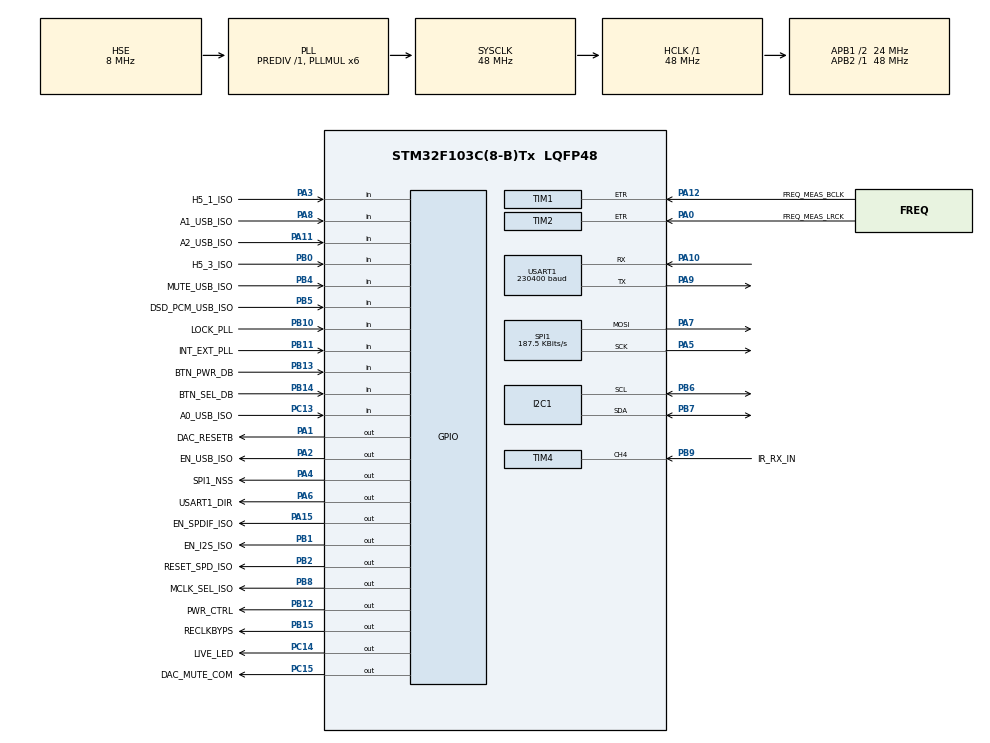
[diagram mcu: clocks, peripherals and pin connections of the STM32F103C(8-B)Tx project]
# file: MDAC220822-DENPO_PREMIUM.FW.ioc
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Dma.Request0=USART1_RX
Dma.USART1_RX.0.Direction=DMA_PERIPH_TO_MEMORY
Dma.USART1_RX.0.Instance=DMA1_Channel5
Dma.USART1_RX.0.MemDataAlignment=DMA_MDATAALIGN_BYTE
Dma.USART1_RX.0.MemInc=DMA_MINC_ENABLE
Dma.USART1_RX.0.Mode=DMA_NORMAL
Dma.USART1_RX.0.PeriphDataAlignment=DMA_PDATAALIGN_BYTE
Dma.USART1_RX.0.PeriphInc=DMA_PINC_DISABLE
Dma.USART1_RX.0.Priority=DMA_PRIORITY_LOW
I2C1.I2C_Mode=I2C_Standard
Mcu.Family=STM32F1
Mcu.Name=STM32F103C(8-B)Tx
Mcu.Package=LQFP48
NVIC.DMA1_Channel5_IRQn=true\:0\:0\:false\:false\:true\:false\:true\:true
NVIC.PriorityGroup=NVIC_PRIORITYGROUP_4
NVIC.TIM3_IRQn=true\:0\:0\:false\:false\:true\:true\:true\:true
NVIC.TIM4_IRQn=true\:0\:0\:false\:false\:true\:true\:true\:true
NVIC.USART1_IRQn=true\:5\:0\:true\:false\:true\:true\:true\:true
PA0-WKUP.GPIO_Label=FREQ_MEAS_LRCK
PA0-WKUP.Signal=S_TIM2_CH1_ETR
PA1.GPIO_Label=DAC_RESETB
PA1.GPIO_ModeDefaultOutputPP=GPIO_MODE_OUTPUT_PP
PA1.GPIO_PuPd=GPIO_PULLUP
PA1.PinState=GPIO_PIN_SET
PA1.Signal=GPIO_Output
PA10.Mode=Asynchronous
PA10.Signal=USART1_RX
PA11.GPIO_Label=A2_USB_ISO
PA11.Signal=GPIO_Input
PA12.GPIO_Label=FREQ_MEAS_BCLK
PA12.Signal=S_TIM1_ETR
PA13.Mode=Trace_Asynchronous_SW
PA13.Signal=SYS_JTMS-SWDIO
PA14.Mode=Trace_Asynchronous_SW
PA14.Signal=SYS_JTCK-SWCLK
PA15.GPIO_Label=EN_SPDIF_ISO
PA15.Signal=GPIO_Output
PA2.GPIO_Label=EN_USB_ISO
PA2.Signal=GPIO_Output
PA3.GPIO_Label=H5_1_ISO
PA3.Signal=GPIO_Input
PA4.GPIO_Label=SPI1_NSS
PA4.GPIO_ModeDefaultOutputPP=GPIO_MODE_OUTPUT_PP
PA4.GPIO_PuPd=GPIO_PULLUP
PA4.GPIO_Speed=GPIO_SPEED_FREQ_LOW
PA4.PinState=GPIO_PIN_SET
PA4.Signal=GPIO_Output
PA5.Mode=TX_Only_Simplex_Unidirect_Master
PA5.Signal=SPI1_SCK
PA6.GPIO_Label=USART1_DIR
PA6.Signal=GPIO_Output
PA7.Mode=TX_Only_Simplex_Unidirect_Master
PA7.Signal=SPI1_MOSI
PA8.GPIO_Label=A1_USB_ISO
PA8.Signal=GPIO_Input
PA9.Mode=Asynchronous
PA9.Signal=USART1_TX
PB0.GPIO_Label=H5_3_ISO
PB0.Signal=GPIO_Input
PB1.GPIO_Label=EN_I2S_ISO
PB1.Signal=GPIO_Output
PB10.GPIO_Label=LOCK_PLL
PB10.Signal=GPIO_Input
PB11.GPIO_Label=INT_EXT_PLL
PB11.Signal=GPIO_Input
PB12.GPIO_Label=PWR_CTRL
PB12.Signal=GPIO_Output
PB13.GPIO_Label=BTN_PWR_DB
PB13.Signal=GPIO_Input
PB14.GPIO_Label=BTN_SEL_DB
PB14.Signal=GPIO_Input
PB15.GPIO_Label=RECLKBYPS
PB15.Signal=GPIO_Output
PB2.GPIO_Label=RESET_SPD_ISO
PB2.GPIO_PuPd=GPIO_PULLUP
PB2.PinState=GPIO_PIN_SET
PB2.Signal=GPIO_Output
PB3.Mode=Trace_Asynchronous_SW
PB3.Signal=SYS_JTDO-TRACESWO
PB4.GPIO_Label=MUTE_USB_ISO
PB4.Signal=GPIO_Input
PB5.GPIO_Label=DSD_PCM_USB_ISO
PB5.Signal=GPIO_Input
PB6.Mode=I2C
PB6.Signal=I2C1_SCL
PB7.Mode=I2C
PB7.Signal=I2C1_SDA
PB8.GPIO_Label=MCLK_SEL_ISO
PB8.Signal=GPIO_Output
PB9.GPIO_Label=IR_RX_IN
PB9.Signal=S_TIM4_CH4
PC13-TAMPER-RTC.GPIO_Label=A0_USB_ISO
PC13-TAMPER-RTC.Signal=GPIO_Input
PC14-OSC32_IN.GPIO_Label=LIVE_LED
PC14-OSC32_IN.Signal=GPIO_Output
PC15-OSC32_OUT.GPIO_Label=DAC_MUTE_COM
PC15-OSC32_OUT.GPIO_ModeDefaultOutputPP=GPIO_MODE_OUTPUT_PP
PC15-OSC32_OUT.GPIO_PuPd=GPIO_PULLUP
PC15-OSC32_OUT.PinState=GPIO_PIN_SET
PC15-OSC32_OUT.Signal=GPIO_Output
PD0-OSC_IN.Mode=HSE-External-Oscillator
PD0-OSC_IN.Signal=RCC_OSC_IN
PD1-OSC_OUT.Mode=HSE-External-Oscillator
PD1-OSC_OUT.Signal=RCC_OSC_OUT
ProjectManager.HeapSize=0x200
ProjectManager.StackSize=0x400
ProjectManager.TargetToolchain=STM32CubeIDE
RCC.AHBFreq_Value=48000000
RCC.APB1CLKDivider=RCC_HCLK_DIV2
RCC.APB1Freq_Value=24000000
RCC.APB1TimFreq_Value=48000000
RCC.APB2Freq_Value=48000000
RCC.APB2TimFreq_Value=48000000
RCC.HCLKFreq_Value=48000000
RCC.PLLMUL=RCC_PLL_MUL6
RCC.PLLSourceVirtual=RCC_PLLSOURCE_HSE
RCC.SYSCLKFreq_VALUE=48000000
RCC.SYSCLKSource=RCC_SYSCLKSOURCE_PLLCLK
RCC.USBFreq_Value=48000000
SH.S_TIM1_ETR.0=TIM1_ETR,ClockSourceETR_Mode2
SH.S_TIM2_CH1_ETR.0=TIM2_ETR,ClockSourceETR_Mode2
SH.S_TIM4_CH4.0=TIM4_CH4,Input_Capture4_from_TI4
SPI1.BaudRatePrescaler=SPI_BAUDRATEPRESCALER_256
SPI1.CLKPhase=SPI_PHASE_1EDGE
SPI1.CalculateBaudRate=187.5 KBits/s
SPI1.Direction=SPI_DIRECTION_2LINES
SPI1.FirstBit=SPI_FIRSTBIT_MSB
SPI1.Mode=SPI_MODE_MASTER
SPI1.VirtualType=VM_MASTER
TIM3.Period=48000
TIM3.Prescaler=0
TIM4.Channel-Input_Capture4_from_TI4=TIM_CHANNEL_4
TIM4.ICPolarity_CH4=TIM_INPUTCHANNELPOLARITY_FALLING
TIM4.Prescaler=4799
USART1.BaudRate=230400
USART1.VirtualMode=VM_ASYNC
VP_TIM3_VS_ClockSourceINT.Mode=Internal
board=custom

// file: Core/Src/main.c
/* USER CODE BEGIN Header */
/**
  ******************************************************************************
  * @file           : main.c
  * @brief          : Main program body
  ******************************************************************************
  * @attention
  *
  * Copyright (c) 2022 STMicroelectronics.
  * All rights reserved.
  *
  * This software is licensed under terms that can be found in the LICENSE file
  * in the root directory of this software component.
  * If no LICENSE file comes with this software, it is provided AS-IS.
  *
  ******************************************************************************
  *231219
  * User Manual:
  *
  * - A bemenetválasztást a felhasználó választja a SELECTOR nyomógombbal.
  * - A DAC paramétereit forrás frekvenciájának mérésével LRCK/BLCK határozza meg, kivéve az USB forrást.
  *
  *
  */
/* USER CODE END Header */
#include "main.h"

/* USER CODE BEGIN Includes */

#include "ir_nec_rx.h"
#include <stdio.h>
#include <string.h>
#include <stdlib.h>
#include <math.h>
#include "display.h"
#include "LiveLed.h"
/* USER CODE END Includes */

/* USER CODE BEGIN PD */

/*** DIO ***/
#define DO_EN_I2S_I2C_ISO         ((uint8_t)1<<1)
#define DO_EN_USB_ISO             ((uint8_t)1<<2)
#define DO_EN_SPDIF_ISO           ((uint8_t)1<<3)
#define DO_MUX_PCM                ((uint8_t)1<<4)

#define DI_A0_USB                 ((uint8_t)1<<0)
#define DI_A1_USB                 ((uint8_t)1<<1)
#define DI_A2_USB                 ((uint8_t)1<<2)
#define DI_A3_USB                 ((uint8_t)1<<3)
#define DI_DSD_PCM_USB            ((uint8_t)1<<4)
#define DI_XMOS_MUTE              ((uint8_t)1<<5)

/*** BUTTONS ***/
#define BUTTON_POWER      ((uint8_t)1<<1)
#define BUTTON_SELECTOR   ((uint8_t)1<<2)

/* USER CODE END PD */

I2C_HandleTypeDef hi2c1;

SPI_HandleTypeDef hspi1;

TIM_HandleTypeDef htim1;
TIM_HandleTypeDef htim2;
TIM_HandleTypeDef htim3;
TIM_HandleTypeDef htim4;

UART_HandleTypeDef huart1;
DMA_HandleTypeDef hdma_usart1_rx;

/* USER CODE BEGIN PV */

Device_t Device;
LiveLED_HnadleTypeDef hLiveLed;

/* USER CODE END PV */

void SystemClock_Config(void);
static void MX_GPIO_Init(void);
static void MX_DMA_Init(void);
static void MX_SPI1_Init(void);
static void MX_USART1_UART_Init(void);
static void MX_TIM1_Init(void);
static void MX_TIM2_Init(void);
static void MX_I2C1_Init(void);
static void MX_TIM3_Init(void);
static void MX_TIM4_Init(void);
/* USER CODE BEGIN PFP */

/*** LiveLed ***/
void LiveLedOff(void);
void LiveLedOn(void);
void SetMasterClock(MasterClocks_t clk);

/*** XMOS/USB ***/
XmosStatus_t ReadXmosStaus(void);
uint8_t XmosIsMute(void);
void SetRoute (Route_t route);

/*** Tasks ***/
void UpTimeTask(void);
void DebugTask(DebugState_t dbg);

/*** Mute ***/
void UserMuteOn(void);
void UserMuteOff(void);
uint8_t UserIsMute(void);
void DeviceMuteOff(void);
void DeviceMuteOn(void);

/*** HMI ***/
uint8_t ButtonsPoll(void);
void UpdateLockIntExtStatus(void);
void UpdateSelectorLeds(Route_t route);
void DevicePowerOn(void);
void DevicePowerOff(void);
void DeviceSleep(void);
void DisplayWake(void);
uint8_t IsDisplaySleep(void);
void DisplaySleepTask(void);
uint8_t DeviceIsOn(void);
void ButtonsTask(void);
void RemoteTask(void);

/*** ReClock ***/
void ReClockBypassOff(void);
void ReClockBypassOn(void);

/*** Debug ***/
void DebugDisplayUpdate(void);

/* USER CODE END PFP */

int main(void)
{

  /* MCU Configuration--------------------------------------------------------*/

  /* Reset of all peripherals, Initializes the Flash interface and the Systick. */
  HAL_Init();

  /* Configure the system clock */
  SystemClock_Config();

  /* Initialize all configured peripherals */
  MX_GPIO_Init();
  MX_DMA_Init();
  MX_SPI1_Init();
  MX_USART1_UART_Init();
  MX_TIM1_Init();
  MX_TIM2_Init();
  MX_I2C1_Init();
  MX_TIM3_Init();
  MX_TIM4_Init();
  /* USER CODE BEGIN 2 */

  /*** Check if the system has resumed from WWDG reset ***/
  if (__HAL_RCC_GET_FLAG(RCC_FLAG_WWDGRST) != RESET)
  {
    Device.Diag.WakeUpFromWdtReset = 1;
  }

  /*--- printf for SWO --- */
  printf("Hello World\r\n");

  /*--- LiveLed ---*/
  hLiveLed.LedOffFnPtr = &LiveLedOff;
  hLiveLed.LedOnFnPtr = &LiveLedOn;
  hLiveLed.HalfPeriodTimeMs = 500;
  LiveLedInit(&hLiveLed);

  /*--- User Leds ---*/
  UsrLeds_Init(&hspi1);

  /*--- User Leds Blinking wait for power supplies ---*/
  /*
   * Az LCD extrém érzékeny a táp feszültségére, ha beakcsolás utána zonnal kommunikálnunk akkor nem inicalizálja a kijelzőt.
   */
  for(int i = 0; i < 3; i++)
  {
    UsrLeds_On(USR_LED_ALL);
    HAL_Delay(500);
    UsrLeds_Off(USR_LED_ALL);
    HAL_Delay(500);
  }

  /*--- EEPROM ---*/
  Eeprom_Init(&hi2c1, EEPROM_DEVICE_ADDRESS);

  uint32_t startSign;
  Eeprom_ReadU32(EEPROM_ADDR_FIRST_START, &startSign);
  if(startSign != 0x55AA)
  {
    /*--- FIRST START ---*/
    Eeprom_WriteU32(EEPROM_ADDR_FIRST_START, 0x55AA);
    Eeprom_WriteU32(EEPROM_ADDR_BOOTUP_CNT, 0);
    Eeprom_WriteU32(EEPROM_ADDR_LAST_ROUTE, ROUTE_USB);
    Eeprom_WriteU32(EEPROM_ADDR_DAC_ROLLOFF, BD34301_ROLL_OFF_SHARP);
  }

  /*--- BOOTUP COUNTER ---*/
  Eeprom_ReadU32(EEPROM_ADDR_BOOTUP_CNT, &Device.Diag.BootupCnt);
  Device.Diag.BootupCnt++;
  Eeprom_WriteU32(EEPROM_ADDR_BOOTUP_CNT, Device.Diag.BootupCnt);

  /*--- Display ---*/
  DisplayInit(&hi2c1, SSD1306_I2C_DEV_ADDRESS);
  DisplayClear();
  DisplayUpdate();
                  /*0123456789012345*/
  DisplaySetCursor(0, 0);
  DisplayDrawString("   CORE AUDIO   ", &GfxFont7x8, SSD1306_WHITE );
  DisplaySetCursor(0, 8);
  DisplayDrawString(" DENPO PREMIUM  ", &GfxFont7x8, SSD1306_WHITE );
  DisplaySetCursor(0, 16);
  DisplayDrawString(DEVICE_FW, &GfxFont7x8, SSD1306_WHITE );

  DisplaySetCursor(0, 16);
  DisplayDrawString(DEVICE_FW, &GfxFont7x8, SSD1306_WHITE );

  DisplaySetCursor(0, 24);
  DisplayDrawString(DEVICE_NAME, &GfxFont7x8, SSD1306_WHITE );
  DisplayUpdate();

  /*--- FrMeter ---*/
  FreqMeas_Start();

  /*--- Device ---*/
  DevicePowerOff();

  /*--- Communication ---*/
  Com_Init(&huart1, &hdma_usart1_rx);

  /*--- Infrared Receiver ---*/
  IR_NEC_Init(&htim4, TIM_CHANNEL_4);

  /* USER CODE END 2 */

  /* Infinite loop */
  /* USER CODE BEGIN WHILE */

  while (1)
  {

    //HAL_WWDG_Refresh(&hwwdg);

    // 22.5792MHz - 24.575MHz
    //         LRCK
    // 352.8KHz -   384KHz    |
    // 176.4KHz -   192KHz    |
    // 88.2KHz  -   96KHz     |
    // 44.1KHz  -   48.0KHz   |   64xLRCK

    /*
     * - Az XLR, HDMI, RCA-ról érkező jelek vezérlik a DAC-ot
     * - A LRCK-BCK mért frekvenciák alapján meghatározom audió jel tipusát pl: AUDIO_PCM_44_1KHZ
     * - Ha pl AUDIO_PCM_44_1KHZ - jön akkor 22.5792MHz a Master Clock kell neki
     * - Ha DSD jön az nem mehet keresztül a SRC, a routot kell változtatni (HDMI vagy XMOS)-n úgy hogy ne menejen keresztül rajta
     * - Ha nem USB-röl jön a jel akkor kiválasszam az OP
     **/

    static uint8_t flag;
    static uint32_t timestamp;

    if(Device.IsOn)
    {
      Device.AudioType.Curr = FreqMeas_GetAudioType();
      if( Device.Route.Curr == ROUTE_I2S_HDMI ||
          Device.Route.Curr == ROUTE_BNC ||
          Device.Route.Curr == ROUTE_RCA ||
          Device.Route.Curr == ROUTE_AES_XLR ||
          Device.Route.Curr == ROUTE_TOS)
      {
        if(Device.AudioType.Pre != Device.AudioType.Curr)
        {
          if(flag == 0)
          {
            flag = 1;
            DeviceMuteOn();
            BD34301_MuteOn();
            Device.Diag.SpdifAuidoTypeChangedCnt++;
            timestamp = HAL_GetTick();
            Device.AudioType.Pre = AUDIO_UNKNOWN; //ez kikényszerití a némítás-visszakapcsolást, abban az esetben is ha pattanás/rövid hiba törétn a stream-ben
          }
          if(flag == 1)
          {
            if(HAL_GetTick() - timestamp > 500)
            {
              flag = 0;

              switch(Device.AudioType.Curr)
              {
                 case AUDIO_PCM_32_0KHZ:{
                   Device.DacMode = BD34301_PCM_32_0KHZ;
                   Device.MasterClock = CLK_22_5792MHZ;
                   break;
                 }
                 case AUDIO_PCM_44_1KHZ:{
                   Device.DacMode = BD34301_PCM_44_1KHZ;
                   Device.MasterClock = CLK_22_5792MHZ;
                   break;
                 }
                 case AUDIO_PCM_48_0KHZ:{
                   Device.DacMode = BD34301_PCM_48_0KHZ;
                   Device.MasterClock = CLK_24_575MHZ;
                   break;
                 }
                 case AUDIO_PCM_88_2KHZ:{
                   Device.DacMode = BD34301_PCM_88_2KHZ;
                   Device.MasterClock = CLK_22_5792MHZ;
                   break;
                 }
                 case AUDIO_PCM_96_0KHZ:{
                   Device.DacMode = BD34301_PCM_96_0KHZ;
                   Device.MasterClock = CLK_24_575MHZ;
                   break;
                 }
                 case AUDIO_PCM_176_4KHZ:{
                   Device.DacMode = BD34301_PCM_176_4KHZ;
                   Device.MasterClock = CLK_22_5792MHZ;
                   break;
                 }
                 case AUDIO_PCM_192_KHZ:{
                   Device.DacMode = BD34301_PCM_192_KHZ;
                   Device.MasterClock = CLK_24_575MHZ;
                   break;
                 }
                 case AUDIO_PCM_352_8KHZ:{
                     Device.DacMode = BD34301_PCM_352_8KHZ;
                     Device.MasterClock = CLK_22_5792MHZ;
                     break;
                 }
                 case AUDIO_PCM_384_0KHZ:{
                     Device.DacMode = BD34301_PCM_384_0KHZ;
                     Device.MasterClock = CLK_24_575MHZ;
                   break;
                 }
                 case AUDIO_PCM_705_6KHZ:{
                     Device.DacMode = BD34301_PCM_705_6KHZ;
                     Device.MasterClock = CLK_24_575MHZ;
                     break;
                 }
                 case AUDIO_DSD_64:{
                     Device.DacMode = BD34301_DSD_64;
                     Device.MasterClock = CLK_22_5792MHZ;
                     break;
                   }
                 case AUDIO_DSD_128:{
                   Device.DacMode = BD34301_DSD_128;
                   Device.MasterClock = CLK_22_5792MHZ;
                   break;
                 }
                 case AUDIO_DSD_256:{
                   Device.DacMode = BD34301_DSD_256;
                   Device.MasterClock = CLK_22_5792MHZ;
                   break;
                 }
                 case AUDIO_DSD_512:
                 {
                   Device.DacMode = BD34301_DSD_512;
                   Device.MasterClock = CLK_22_5792MHZ;
                   break;
                 }
                 case AUDIO_UNKNOWN: {
                   break;
                 }
              }

              BD34301_DigitalPowerOff();
              BD34301_SoftwareResetOn();

              ReClockBypassOn();

              Device.Diag.DacReConfgiurationCnt++;
              SetMasterClock(Device.MasterClock);
              DelayMs(15); //Kritikus pl 88.2 és 96 váltás között
              BD34301_SetRollOff(Device.DacRollOff);
              BD34301_ModeSwitching(&BD34301_ModeList[Device.DacMode]);
              DebugDisplayUpdate();

              BD34301_SoftwareResetOff();
              BD34301_DigitalPowerOn();
              BD34301_RamClear(); //Kritkus, nem szól a PCM ha nincs
              DeviceMuteOff();
              BD34301_MuteOff();
              Device.AudioType.Pre = Device.AudioType.Curr;
            }
          }
        }
      }

      /*
       * Az USB XMOS statuszta mondja meg mit csináljon a DAC
       */
      Device.XmosStatus.Curr = ReadXmosStaus();
      if(Device.Route.Curr == ROUTE_USB)
      {
        /*
         * Update: 240418_0906
         * Gábro mérései alapján az XMOS némito jele renben van.
         */
        if(XmosIsMute())
          DeviceMuteOn();
        else
          DeviceMuteOff();

        if(Device.XmosStatus.Pre != Device.XmosStatus.Curr)
        {
          Device.Diag.XmosStatusChangedCnt++;
          switch(Device.XmosStatus.Curr)
          {
            case XMOS_PCM_44_1KHZ:{
                Device.DacMode = BD34301_PCM_44_1KHZ;
                Device.MasterClock = CLK_22_5792MHZ;
                break;
              }
            case XMOS_PCM_48_0KHZ:{
              Device.DacMode = BD34301_PCM_48_0KHZ;
              Device.MasterClock = CLK_24_575MHZ;
              break;
            }
            case XMOS_PCM_88_2KHZ:{
              Device.DacMode = BD34301_PCM_88_2KHZ;
              Device.MasterClock = CLK_22_5792MHZ;
              break;
            }
            case XMOS_PCM_96_0KHZ:{
              Device.DacMode = BD34301_PCM_96_0KHZ;
              Device.MasterClock = CLK_24_575MHZ;
              break;
            }
            case XMOS_PCM_176_4KHZ:{
              Device.DacMode = BD34301_PCM_176_4KHZ;
              Device.MasterClock = CLK_22_5792MHZ;
              break;
            }
            case XMOS_PCM_192_KHZ:{
              Device.DacMode = BD34301_PCM_192_KHZ;
              Device.MasterClock = CLK_24_575MHZ;
              break;
            }
            case XMOS_PCM_352_8KHZ:{
              Device.DacMode = BD34301_PCM_352_8KHZ;
              Device.MasterClock = CLK_22_5792MHZ;
              break;
            }
            case XMOS_PCM_384_KHZ:{
              Device.DacMode = BD34301_PCM_384_0KHZ;
              Device.MasterClock = CLK_24_575MHZ;
              break;
            }
            case XMOS_DSD_64:{
              Device.DacMode = BD34301_DSD_64;
              Device.MasterClock = CLK_22_5792MHZ;
              break;
            }
            case XMOS_DSD_128:{
              Device.DacMode = BD34301_DSD_128;
              Device.MasterClock = CLK_22_5792MHZ;
              break;
            }
            case XMOS_DSD_256:{
              Device.DacMode = BD34301_DSD_256;
              Device.MasterClock = CLK_22_5792MHZ;
              break;
            }
            default:
            {
              Device.Diag.XmosFormatUnknownCnt++;
            };
          }

          BD34301_DigitalPowerOff();
          BD34301_SoftwareResetOn();

          /* Re-Colck bypass
          * A ReClock a PCM 192-ig müködik, azután Bypassojla...
          * 240109_1609
          * Viktorral átbeszéltük a működést, és arra jutottunk, hogy az I2S és
          * a SPDIF módokban bypass-oljuk a reclockert, az USB módban pedig úgy működik,
          * ahogy eddig kértem.
          */
          if
            (Device.DacMode == BD34301_PCM_352_8KHZ  ||
             Device.DacMode ==   BD34301_PCM_176_4KHZ ||
             Device.DacMode ==   BD34301_PCM_192_KHZ ||
             Device.DacMode == BD34301_PCM_384_0KHZ  ||
             Device.DacMode == BD34301_PCM_705_6KHZ  ||
             Device.DacMode == BD34301_PCM_768_0KHZ  ||
             Device.DacMode == BD34301_DSD_64  ||
             Device.DacMode == BD34301_DSD_128  ||
             Device.DacMode == BD34301_DSD_256  ||
             Device.DacMode == BD34301_DSD_512)
          {
            ReClockBypassOn();
          }else{
            ReClockBypassOff();
          }

          Device.Diag.DacReConfgiurationCnt++;
          SetMasterClock(Device.MasterClock);
          DelayMs(15); //Kritikus pl 88.2 és 96 váltás között
          BD34301_SetRollOff(Device.DacRollOff);
          BD34301_ModeSwitching(&BD34301_ModeList[Device.DacMode]);
          DebugDisplayUpdate();

          BD34301_SoftwareResetOff();
          BD34301_DigitalPowerOn();
          BD34301_RamClear(); //Kritkus, nem szól a PCM ha nincs
          //DeviceMuteOff();
          BD34301_MuteOff();
          Device.XmosStatus.Pre = Device.XmosStatus.Curr;
        }
      }

      if(Device.Route.Pre != Device.Route.Curr){
        SetRoute(Device.Route.Curr);
        Device.AudioType.Pre = AUDIO_UNKNOWN;
        Device.XmosStatus.Pre = XMOS_UNKNOWN;
        Device.Route.Pre = Device.Route.Curr;
      }

      /*
       * A Volume 0..100 között értelmezett
       * 0: -110dB Minimum Volume
       * 100: 0dB Maximum Volume
       */
      if(Device.Volume.Pre != Device.Volume.Curr){
        double y = Device.Volume.Curr/100.0;
        double x = (log(y)-log(1E-5))/11.51;
        if(x < 0.1)
          x = 0;
        uint8_t reg = (uint8_t)(255 - x * 255);
        BD34301_RegWrite(0x21, reg);
        BD34301_RegWrite(0x22, reg);
        Device.Volume.Pre = Device.Volume.Curr;
      }
    }

    LiveLedTask(&hLiveLed);
    Com_Task();
    UpTimeTask();
    ButtonsTask();
    UpdateLockIntExtStatus();
    DisplaySleepTask();
    RemoteTask();
    DebugTask(Device.DebugState);

    /* USER CODE END WHILE */

  }
}

void SystemClock_Config(void)
{
  RCC_OscInitTypeDef RCC_OscInitStruct = {0};
  RCC_ClkInitTypeDef RCC_ClkInitStruct = {0};

  /** Initializes the RCC Oscillators according to the specified parameters
  * in the RCC_OscInitTypeDef structure.
  */
  RCC_OscInitStruct.OscillatorType = RCC_OSCILLATORTYPE_HSE;
  RCC_OscInitStruct.HSEState = RCC_HSE_ON;
  RCC_OscInitStruct.HSEPredivValue = RCC_HSE_PREDIV_DIV1;
  RCC_OscInitStruct.HSIState = RCC_HSI_ON;
  RCC_OscInitStruct.PLL.PLLState = RCC_PLL_ON;
  RCC_OscInitStruct.PLL.PLLSource = RCC_PLLSOURCE_HSE;
  RCC_OscInitStruct.PLL.PLLMUL = RCC_PLL_MUL6;
  if (HAL_RCC_OscConfig(&RCC_OscInitStruct) != HAL_OK)
  {
    Error_Handler();
  }

  /** Initializes the CPU, AHB and APB buses clocks
  */
  RCC_ClkInitStruct.ClockType = RCC_CLOCKTYPE_HCLK|RCC_CLOCKTYPE_SYSCLK
                              |RCC_CLOCKTYPE_PCLK1|RCC_CLOCKTYPE_PCLK2;
  RCC_ClkInitStruct.SYSCLKSource = RCC_SYSCLKSOURCE_PLLCLK;
  RCC_ClkInitStruct.AHBCLKDivider = RCC_SYSCLK_DIV1;
  RCC_ClkInitStruct.APB1CLKDivider = RCC_HCLK_DIV2;
  RCC_ClkInitStruct.APB2CLKDivider = RCC_HCLK_DIV1;

  if (HAL_RCC_ClockConfig(&RCC_ClkInitStruct, FLASH_LATENCY_1) != HAL_OK)
  {
    Error_Handler();
  }
}

static void MX_I2C1_Init(void)
{

  hi2c1.Instance = I2C1;
  hi2c1.Init.ClockSpeed = 100000;
  hi2c1.Init.DutyCycle = I2C_DUTYCYCLE_2;
  hi2c1.Init.OwnAddress1 = 0;
  hi2c1.Init.AddressingMode = I2C_ADDRESSINGMODE_7BIT;
  hi2c1.Init.DualAddressMode = I2C_DUALADDRESS_DISABLE;
  hi2c1.Init.OwnAddress2 = 0;
  hi2c1.Init.GeneralCallMode = I2C_GENERALCALL_DISABLE;
  hi2c1.Init.NoStretchMode = I2C_NOSTRETCH_DISABLE;
  if (HAL_I2C_Init(&hi2c1) != HAL_OK)
  {
    Error_Handler();
  }

}

static void MX_SPI1_Init(void)
{

  /* SPI1 parameter configuration*/
  hspi1.Instance = SPI1;
  hspi1.Init.Mode = SPI_MODE_MASTER;
  hspi1.Init.Direction = SPI_DIRECTION_2LINES;
  hspi1.Init.DataSize = SPI_DATASIZE_8BIT;
  hspi1.Init.CLKPolarity = SPI_POLARITY_LOW;
  hspi1.Init.CLKPhase = SPI_PHASE_1EDGE;
  hspi1.Init.NSS = SPI_NSS_SOFT;
  hspi1.Init.BaudRatePrescaler = SPI_BAUDRATEPRESCALER_256;
  hspi1.Init.FirstBit = SPI_FIRSTBIT_MSB;
  hspi1.Init.TIMode = SPI_TIMODE_DISABLE;
  hspi1.Init.CRCCalculation = SPI_CRCCALCULATION_DISABLE;
  hspi1.Init.CRCPolynomial = 10;
  if (HAL_SPI_Init(&hspi1) != HAL_OK)
  {
    Error_Handler();
  }

}

static void MX_TIM1_Init(void)
{

  TIM_ClockConfigTypeDef sClockSourceConfig = {0};
  TIM_MasterConfigTypeDef sMasterConfig = {0};

  htim1.Instance = TIM1;
  htim1.Init.Prescaler = 0;
  htim1.Init.CounterMode = TIM_COUNTERMODE_UP;
  htim1.Init.Period = 65535;
  htim1.Init.ClockDivision = TIM_CLOCKDIVISION_DIV1;
  htim1.Init.RepetitionCounter = 0;
  htim1.Init.AutoReloadPreload = TIM_AUTORELOAD_PRELOAD_DISABLE;
  if (HAL_TIM_Base_Init(&htim1) != HAL_OK)
  {
    Error_Handler();
  }
  sClockSourceConfig.ClockSource = TIM_CLOCKSOURCE_ETRMODE2;
  sClockSourceConfig.ClockPolarity = TIM_CLOCKPOLARITY_NONINVERTED;
  sClockSourceConfig.ClockPrescaler = TIM_CLOCKPRESCALER_DIV1;
  sClockSourceConfig.ClockFilter = 0;
  if (HAL_TIM_ConfigClockSource(&htim1, &sClockSourceConfig) != HAL_OK)
  {
    Error_Handler();
  }
  sMasterConfig.MasterOutputTrigger = TIM_TRGO_RESET;
  sMasterConfig.MasterSlaveMode = TIM_MASTERSLAVEMODE_DISABLE;
  if (HAL_TIMEx_MasterConfigSynchronization(&htim1, &sMasterConfig) != HAL_OK)
  {
    Error_Handler();
  }

}

static void MX_TIM2_Init(void)
{

  TIM_ClockConfigTypeDef sClockSourceConfig = {0};
  TIM_MasterConfigTypeDef sMasterConfig = {0};

  htim2.Instance = TIM2;
  htim2.Init.Prescaler = 0;
  htim2.Init.CounterMode = TIM_COUNTERMODE_UP;
  htim2.Init.Period = 65535;
  htim2.Init.ClockDivision = TIM_CLOCKDIVISION_DIV1;
  htim2.Init.AutoReloadPreload = TIM_AUTORELOAD_PRELOAD_DISABLE;
  if (HAL_TIM_Base_Init(&htim2) != HAL_OK)
  {
    Error_Handler();
  }
  sClockSourceConfig.ClockSource = TIM_CLOCKSOURCE_ETRMODE2;
  sClockSourceConfig.ClockPolarity = TIM_CLOCKPOLARITY_NONINVERTED;
  sClockSourceConfig.ClockPrescaler = TIM_CLOCKPRESCALER_DIV1;
  sClockSourceConfig.ClockFilter = 0;
  if (HAL_TIM_ConfigClockSource(&htim2, &sClockSourceConfig) != HAL_OK)
  {
    Error_Handler();
  }
  sMasterConfig.MasterOutputTrigger = TIM_TRGO_RESET;
  sMasterConfig.MasterSlaveMode = TIM_MASTERSLAVEMODE_DISABLE;
  if (HAL_TIMEx_MasterConfigSynchronization(&htim2, &sMasterConfig) != HAL_OK)
  {
    Error_Handler();
  }

}

static void MX_TIM3_Init(void)
{

  TIM_ClockConfigTypeDef sClockSourceConfig = {0};
  TIM_MasterConfigTypeDef sMasterConfig = {0};

  htim3.Instance = TIM3;
  htim3.Init.Prescaler = 0;
  htim3.Init.CounterMode = TIM_COUNTERMODE_UP;
  htim3.Init.Period = 48000;
  htim3.Init.ClockDivision = TIM_CLOCKDIVISION_DIV1;
  htim3.Init.AutoReloadPreload = TIM_AUTORELOAD_PRELOAD_DISABLE;
  if (HAL_TIM_Base_Init(&htim3) != HAL_OK)
  {
    Error_Handler();
  }
  sClockSourceConfig.ClockSource = TIM_CLOCKSOURCE_INTERNAL;
  if (HAL_TIM_ConfigClockSource(&htim3, &sClockSourceConfig) != HAL_OK)
  {
    Error_Handler();
  }
  sMasterConfig.MasterOutputTrigger = TIM_TRGO_RESET;
  sMasterConfig.MasterSlaveMode = TIM_MASTERSLAVEMODE_DISABLE;
  if (HAL_TIMEx_MasterConfigSynchronization(&htim3, &sMasterConfig) != HAL_OK)
  {
    Error_Handler();
  }

}

static void MX_TIM4_Init(void)
{

  TIM_MasterConfigTypeDef sMasterConfig = {0};
  TIM_IC_InitTypeDef sConfigIC = {0};

  htim4.Instance = TIM4;
  htim4.Init.Prescaler = 4799;
  htim4.Init.CounterMode = TIM_COUNTERMODE_UP;
  htim4.Init.Period = 65535;
  htim4.Init.ClockDivision = TIM_CLOCKDIVISION_DIV1;
  htim4.Init.AutoReloadPreload = TIM_AUTORELOAD_PRELOAD_DISABLE;
  if (HAL_TIM_IC_Init(&htim4) != HAL_OK)
  {
    Error_Handler();
  }
  sMasterConfig.MasterOutputTrigger = TIM_TRGO_RESET;
  sMasterConfig.MasterSlaveMode = TIM_MASTERSLAVEMODE_DISABLE;
  if (HAL_TIMEx_MasterConfigSynchronization(&htim4, &sMasterConfig) != HAL_OK)
  {
    Error_Handler();
  }
  sConfigIC.ICPolarity = TIM_INPUTCHANNELPOLARITY_FALLING;
  sConfigIC.ICSelection = TIM_ICSELECTION_DIRECTTI;
  sConfigIC.ICPrescaler = TIM_ICPSC_DIV1;
  sConfigIC.ICFilter = 0;
  if (HAL_TIM_IC_ConfigChannel(&htim4, &sConfigIC, TIM_CHANNEL_4) != HAL_OK)
  {
    Error_Handler();
  }

}

static void MX_USART1_UART_Init(void)
{

  huart1.Instance = USART1;
  huart1.Init.BaudRate = 230400;
  huart1.Init.WordLength = UART_WORDLENGTH_8B;
  huart1.Init.StopBits = UART_STOPBITS_1;
  huart1.Init.Parity = UART_PARITY_NONE;
  huart1.Init.Mode = UART_MODE_TX_RX;
  huart1.Init.HwFlowCtl = UART_HWCONTROL_NONE;
  huart1.Init.OverSampling = UART_OVERSAMPLING_16;
  if (HAL_UART_Init(&huart1) != HAL_OK)
  {
    Error_Handler();
  }

}

static void MX_DMA_Init(void)
{

  /* DMA controller clock enable */
  __HAL_RCC_DMA1_CLK_ENABLE();

  /* DMA interrupt init */
  /* DMA1_Channel5_IRQn interrupt configuration */
  HAL_NVIC_SetPriority(DMA1_Channel5_IRQn, 0, 0);
  HAL_NVIC_EnableIRQ(DMA1_Channel5_IRQn);

}

static void MX_GPIO_Init(void)
{
  GPIO_InitTypeDef GPIO_InitStruct = {0};

  /* GPIO Ports Clock Enable */
  __HAL_RCC_GPIOC_CLK_ENABLE();
  __HAL_RCC_GPIOD_CLK_ENABLE();
  __HAL_RCC_GPIOA_CLK_ENABLE();
  __HAL_RCC_GPIOB_CLK_ENABLE();

  /*Configure GPIO pin Output Level */
  HAL_GPIO_WritePin(LIVE_LED_GPIO_Port, LIVE_LED_Pin, GPIO_PIN_RESET);

  /*Configure GPIO pin Output Level */
  HAL_GPIO_WritePin(DAC_MUTE_COM_GPIO_Port, DAC_MUTE_COM_Pin, GPIO_PIN_SET);

  /*Configure GPIO pin Output Level */
  HAL_GPIO_WritePin(GPIOA, DAC_RESETB_Pin|SPI1_NSS_Pin, GPIO_PIN_SET);

  /*Configure GPIO pin Output Level */
  HAL_GPIO_WritePin(GPIOA, EN_USB_ISO_Pin|USART1_DIR_Pin|EN_SPDIF_ISO_Pin, GPIO_PIN_RESET);

  /*Configure GPIO pin Output Level */
  HAL_GPIO_WritePin(GPIOB, EN_I2S_ISO_Pin|PWR_CTRL_Pin|RECLKBYPS_Pin|MCLK_SEL_ISO_Pin, GPIO_PIN_RESET);

  /*Configure GPIO pin Output Level */
  HAL_GPIO_WritePin(RESET_SPD_ISO_GPIO_Port, RESET_SPD_ISO_Pin, GPIO_PIN_SET);

  /*Configure GPIO pin : A0_USB_ISO_Pin */
  GPIO_InitStruct.Pin = A0_USB_ISO_Pin;
  GPIO_InitStruct.Mode = GPIO_MODE_INPUT;
  GPIO_InitStruct.Pull = GPIO_NOPULL;
  HAL_GPIO_Init(A0_USB_ISO_GPIO_Port, &GPIO_InitStruct);

  /*Configure GPIO pin : LIVE_LED_Pin */
  GPIO_InitStruct.Pin = LIVE_LED_Pin;
  GPIO_InitStruct.Mode = GPIO_MODE_OUTPUT_PP;
  GPIO_InitStruct.Pull = GPIO_NOPULL;
  GPIO_InitStruct.Speed = GPIO_SPEED_FREQ_LOW;
  HAL_GPIO_Init(LIVE_LED_GPIO_Port, &GPIO_InitStruct);

  /*Configure GPIO pin : DAC_MUTE_COM_Pin */
  GPIO_InitStruct.Pin = DAC_MUTE_COM_Pin;
  GPIO_InitStruct.Mode = GPIO_MODE_OUTPUT_PP;
  GPIO_InitStruct.Pull = GPIO_PULLUP;
  GPIO_InitStruct.Speed = GPIO_SPEED_FREQ_LOW;
  HAL_GPIO_Init(DAC_MUTE_COM_GPIO_Port, &GPIO_InitStruct);

  /*Configure GPIO pins : DAC_RESETB_Pin SPI1_NSS_Pin */
  GPIO_InitStruct.Pin = DAC_RESETB_Pin|SPI1_NSS_Pin;
  GPIO_InitStruct.Mode = GPIO_MODE_OUTPUT_PP;
  GPIO_InitStruct.Pull = GPIO_PULLUP;
  GPIO_InitStruct.Speed = GPIO_SPEED_FREQ_LOW;
  HAL_GPIO_Init(GPIOA, &GPIO_InitStruct);

  /*Configure GPIO pins : EN_USB_ISO_Pin USART1_DIR_Pin EN_SPDIF_ISO_Pin */
  GPIO_InitStruct.Pin = EN_USB_ISO_Pin|USART1_DIR_Pin|EN_SPDIF_ISO_Pin;
  GPIO_InitStruct.Mode = GPIO_MODE_OUTPUT_PP;
  GPIO_InitStruct.Pull = GPIO_NOPULL;
  GPIO_InitStruct.Speed = GPIO_SPEED_FREQ_LOW;
  HAL_GPIO_Init(GPIOA, &GPIO_InitStruct);

  /*Configure GPIO pins : H5_1_ISO_Pin A1_USB_ISO_Pin A2_USB_ISO_Pin */
  GPIO_InitStruct.Pin = H5_1_ISO_Pin|A1_USB_ISO_Pin|A2_USB_ISO_Pin;
  GPIO_InitStruct.Mode = GPIO_MODE_INPUT;
  GPIO_InitStruct.Pull = GPIO_NOPULL;
  HAL_GPIO_Init(GPIOA, &GPIO_InitStruct);

  /*Configure GPIO pins : H5_3_ISO_Pin LOCK_PLL_Pin INT_EXT_PLL_Pin BTN_PWR_DB_Pin
                           BTN_SEL_DB_Pin MUTE_USB_ISO_Pin DSD_PCM_USB_ISO_Pin */
  GPIO_InitStruct.Pin = H5_3_ISO_Pin|LOCK_PLL_Pin|INT_EXT_PLL_Pin|BTN_PWR_DB_Pin
                          |BTN_SEL_DB_Pin|MUTE_USB_ISO_Pin|DSD_PCM_USB_ISO_Pin;
  GPIO_InitStruct.Mode = GPIO_MODE_INPUT;
  GPIO_InitStruct.Pull = GPIO_NOPULL;
  HAL_GPIO_Init(GPIOB, &GPIO_InitStruct);

  /*Configure GPIO pins : EN_I2S_ISO_Pin PWR_CTRL_Pin RECLKBYPS_Pin MCLK_SEL_ISO_Pin */
  GPIO_InitStruct.Pin = EN_I2S_ISO_Pin|PWR_CTRL_Pin|RECLKBYPS_Pin|MCLK_SEL_ISO_Pin;
  GPIO_InitStruct.Mode = GPIO_MODE_OUTPUT_PP;
  GPIO_InitStruct.Pull = GPIO_NOPULL;
  GPIO_InitStruct.Speed = GPIO_SPEED_FREQ_LOW;
  HAL_GPIO_Init(GPIOB, &GPIO_InitStruct);

  /*Configure GPIO pin : RESET_SPD_ISO_Pin */
  GPIO_InitStruct.Pin = RESET_SPD_ISO_Pin;
  GPIO_InitStruct.Mode = GPIO_MODE_OUTPUT_PP;
  GPIO_InitStruct.Pull = GPIO_PULLUP;
  GPIO_InitStruct.Speed = GPIO_SPEED_FREQ_LOW;
  HAL_GPIO_Init(RESET_SPD_ISO_GPIO_Port, &GPIO_InitStruct);

}

/* USER CODE BEGIN 4 */

/* Inputs & Outputs ----------------------------------------------------------*/

void SetRoute (Route_t route)
{

  DeviceMuteOn();

  switch(route)
  {
    case ROUTE_USB:{
      HAL_GPIO_WritePin(EN_I2S_ISO_GPIO_Port, EN_I2S_ISO_Pin, GPIO_PIN_SET); //ON -> Deselect I2S-HDMI
      HAL_GPIO_WritePin(EN_USB_ISO_GPIO_Port, EN_USB_ISO_Pin, GPIO_PIN_SET); // ON -> Select USB Input
      HAL_GPIO_WritePin(EN_SPDIF_ISO_GPIO_Port, EN_SPDIF_ISO_Pin, GPIO_PIN_RESET); // OFF -> Deselect SPDIF
      break;
    }
    case ROUTE_I2S_HDMI:{
      HAL_GPIO_WritePin(EN_I2S_ISO_GPIO_Port, EN_I2S_ISO_Pin, GPIO_PIN_RESET); //OFF -> Select I2S-HDMI
      HAL_GPIO_WritePin(EN_USB_ISO_GPIO_Port, EN_USB_ISO_Pin, GPIO_PIN_RESET); // OFF -> DeSelect USB Input
      HAL_GPIO_WritePin(EN_SPDIF_ISO_GPIO_Port, EN_SPDIF_ISO_Pin, GPIO_PIN_RESET); //OFF -> DeSelect SPDIF
      break;
    }

    case ROUTE_TOS:{
      HAL_GPIO_WritePin(EN_I2S_ISO_GPIO_Port, EN_I2S_ISO_Pin, GPIO_PIN_SET); //ON -> DeSelect I2S-HDMI
      HAL_GPIO_WritePin(EN_USB_ISO_GPIO_Port, EN_USB_ISO_Pin, GPIO_PIN_RESET); //OFF -> DeSelect USB Input
      HAL_GPIO_WritePin(EN_SPDIF_ISO_GPIO_Port, EN_SPDIF_ISO_Pin, GPIO_PIN_SET);//ON -> Select SPDIF -> PCM9211
      PCM9211_SelectSource(PCM9211_RXIN4);
      break;
    }

    case ROUTE_RCA:{
      HAL_GPIO_WritePin(EN_I2S_ISO_GPIO_Port, EN_I2S_ISO_Pin, GPIO_PIN_SET); //ON -> DeSelect I2S-HDMI
      HAL_GPIO_WritePin(EN_USB_ISO_GPIO_Port, EN_USB_ISO_Pin, GPIO_PIN_RESET); //OFF -> DeSelect USB Input
      HAL_GPIO_WritePin(EN_SPDIF_ISO_GPIO_Port, EN_SPDIF_ISO_Pin, GPIO_PIN_SET);//ON -> Select SPDIF -> PCM9211
      PCM9211_SelectSource(PCM9211_RXIN1);
      break;
    }

    case ROUTE_BNC:{
      HAL_GPIO_WritePin(EN_I2S_ISO_GPIO_Port, EN_I2S_ISO_Pin, GPIO_PIN_SET); //ON -> DeSelect I2S-HDMI
      HAL_GPIO_WritePin(EN_USB_ISO_GPIO_Port, EN_USB_ISO_Pin, GPIO_PIN_RESET); //OFF -> DeSelect USB Input
      HAL_GPIO_WritePin(EN_SPDIF_ISO_GPIO_Port, EN_SPDIF_ISO_Pin, GPIO_PIN_SET); //ON -> Select SPDIF -> PCM9211
      PCM9211_SelectSource(PCM9211_RXIN0);
      break;
    }

    case ROUTE_AES_XLR:{
      HAL_GPIO_WritePin(EN_I2S_ISO_GPIO_Port, EN_I2S_ISO_Pin, GPIO_PIN_SET); //ON -> DeSelect I2S-HDMI
      HAL_GPIO_WritePin(EN_USB_ISO_GPIO_Port, EN_USB_ISO_Pin, GPIO_PIN_RESET); //OFF -> DeSelect USB Input
      HAL_GPIO_WritePin(EN_SPDIF_ISO_GPIO_Port, EN_SPDIF_ISO_Pin, GPIO_PIN_SET);//ON -> Select SPDIF -> PCM9211
      PCM9211_SelectSource(PCM9211_RXIN3);
      break;
    }
  }

  DebugDisplayUpdate();
}

XmosStatus_t ReadXmosStaus(void)
{
  uint8_t status = 0;

  if(HAL_GPIO_ReadPin(A0_USB_ISO_GPIO_Port, A0_USB_ISO_Pin) == GPIO_PIN_SET)
    status |= DI_A0_USB;

  if(HAL_GPIO_ReadPin(A1_USB_ISO_GPIO_Port, A1_USB_ISO_Pin) == GPIO_PIN_SET)
    status |= DI_A1_USB;

  if(HAL_GPIO_ReadPin(A2_USB_ISO_GPIO_Port, A2_USB_ISO_Pin) == GPIO_PIN_SET)
    status |= DI_A2_USB;

  if(HAL_GPIO_ReadPin(DSD_PCM_USB_ISO_GPIO_Port, DSD_PCM_USB_ISO_Pin) == GPIO_PIN_SET)
    status |= DI_DSD_PCM_USB;
  else
    status &= ~DI_A0_USB;
  return (XmosStatus_t)status;
}

uint8_t XmosIsMute(void){
  uint8_t status = HAL_GPIO_ReadPin(MUTE_USB_ISO_GPIO_Port, MUTE_USB_ISO_Pin) == GPIO_PIN_SET;
  return status;
}

void SetMasterClock(MasterClocks_t clk )
{
  if(clk == CLK_24_575MHZ)
    HAL_GPIO_WritePin(MCLK_SEL_ISO_GPIO_Port, MCLK_SEL_ISO_Pin, GPIO_PIN_SET);

  if(clk == CLK_22_5792MHZ)
    HAL_GPIO_WritePin(MCLK_SEL_ISO_GPIO_Port, MCLK_SEL_ISO_Pin, GPIO_PIN_RESET);
}

/* LEDs ----------------------------------------------------------------------*/
void LiveLedOn(void)
{
  HAL_GPIO_WritePin(LIVE_LED_GPIO_Port, LIVE_LED_Pin, GPIO_PIN_SET);
}

void LiveLedOff(void)
{
  HAL_GPIO_WritePin(LIVE_LED_GPIO_Port, LIVE_LED_Pin, GPIO_PIN_RESET);
}

/* HMI -----------------------------------------------------------------------*/
void DevicePowerOn(void)
{
  Device.IsOn = 1;

  /* --- DAC Analóg és digitális táp kikapcsolása --- */
  //PWR_CTRL = 0 (ON)
  HAL_GPIO_WritePin(PWR_CTRL_GPIO_Port, PWR_CTRL_Pin, GPIO_PIN_RESET);

  HAL_Delay(100);  //Kritikus, ha túl kicsi nem indul el semmi az I2C buszon

  /*--- Ez kikényszeriti, hogy minden állapot frissüljön ---*/
  Device.XmosStatus.Pre = XMOS_UNKNOWN;
  Device.Volume.Curr = 100;
  Device.AudioType.Pre = AUDIO_UNKNOWN;
  Device.Route.Pre = 255;

  /*--- DAC Inicializálsáa ---*/
  BD34301_Reset();
  BD34301_Init(&hi2c1, BD34_DEVICE_ADDRESS);

  /*--- PCM Init  ---*/
  PCM9211_Init(&hi2c1, PCM9211_DEVICE_ADDRESS);

  HAL_Delay(200); //Kritikus, ha túl kicsi pl 100ms akkor nem indul időben az pcm9211

  /*--- Load Last Route ---*/
  uint32_t lastRoute;
  Eeprom_ReadU32(EEPROM_ADDR_LAST_ROUTE, &lastRoute);
  Device.Route.Curr = lastRoute;
  SetRoute(Device.Route.Curr);

  /*--- Load Last Roll-Off Settings ---*/
  uint32_t lastRollOff;
  Eeprom_ReadU32(EEPROM_ADDR_DAC_ROLLOFF, &lastRollOff);
  Device.DacRollOff = lastRollOff;
  BD34301_SetRollOff(Device.DacRollOff);
  BD34301_ModeSwitching(&BD34301_ModeList[Device.DacMode]);

  /* --- Bekapcsolom a Power LED-et ---*/
  UsrLeds_On(USR_LED_POWER);

  DisplayWake();

  UserMuteOff();
}

void DevicePowerOff(void)
{
  Device.IsOn = 0;

  /* --- Analóg + Digit táp kikapcsolása --- */
  HAL_GPIO_WritePin(PWR_CTRL_GPIO_Port, PWR_CTRL_Pin, GPIO_PIN_SET);

  /*--- Minden LED-et kikapcsolok ---*/
  UsrLeds_Off(USR_LED_ALL);

  DeviceMuteOn();
}

void DeviceSelectNextRoute(void)
{
  Device.Route.Curr++;

  /*--- Körbe Halad a Route kiválasztása --- */
  if(Device.Route.Curr > ROUTE_AES_XLR)
    Device.Route.Curr = ROUTE_USB;

  /*--- Minden módositás után elmentem az aktuális állapotot ---*/
  Eeprom_WriteU32(EEPROM_ADDR_LAST_ROUTE, Device.Route.Curr);

  DisplayWake();
}

void DeviceSleep(void)
{
  /*--- Minden LED-et kikapcsolok kivéve a POWRER-t  ---*/
  UsrLeds_Off( USR_LED_AES | USR_LED_BNC | USR_LED_RCA | USR_LED_TOS | USR_LED_I2S | USR_LED_USB | USR_LED_LOCK | USR_LED_EXTREF);

  Device.DisplayIsSleep = 1;
}

void DisplayWake(void)
{
  /*--- Innetől ébren van a készülék vagy módositja az ébrenléti timeout kezdetét ---*/
  Device.DisplayIsSleep = 0;
  Device.WakeStartTimestamp = HAL_GetTick();

  /*--- Route akautális LED-jének bekapcsolása ---*/
  UpdateSelectorLeds(Device.Route.Curr);

  /* --- LOCK ---*/
  Device.Lock.Pre = HAL_GPIO_ReadPin(LOCK_PLL_GPIO_Port, LOCK_PLL_Pin);
  if(Device.Lock.Pre)
    UsrLeds_On(USR_LED_LOCK);
  else
    UsrLeds_Off(USR_LED_LOCK);

  /* --- INT_EXT ---*/
  Device.IntExt.Pre = HAL_GPIO_ReadPin(INT_EXT_PLL_GPIO_Port, INT_EXT_PLL_Pin);
  if(Device.IntExt.Pre)
    UsrLeds_On(USR_LED_EXTREF);
  else
    UsrLeds_Off(USR_LED_EXTREF);
}

uint8_t IsDisplaySleep(void)
{
  return Device.DisplayIsSleep;
}

uint8_t DeviceIsOn(void)
{
  return Device.IsOn;
}

void DisplaySleepTask(void)
{
  if(!IsDisplaySleep())
  {
    if(HAL_GetTick() - Device.WakeStartTimestamp > DEVICE_GO_SLEEP_SEC )
    {
     // DeviceSleep();
    }
  }
}

/*
 * A nyomogombok GND-re húznak
 * A Debuce áramkor invertál
 * A H szint jelenti a megnyomott állapotot
 */
uint8_t ButtonsPoll (void)
{
  uint8_t retval = 0;
  HAL_GPIO_ReadPin(BTN_PWR_DB_GPIO_Port, BTN_PWR_DB_Pin) ? (retval |= BUTTON_POWER) : (retval &= (~BUTTON_POWER));
  HAL_GPIO_ReadPin(BTN_SEL_DB_GPIO_Port, BTN_SEL_DB_Pin) ? (retval |= BUTTON_SELECTOR) : (retval &= (~BUTTON_SELECTOR));
  return retval;
}

/*
 * Amikor mengyomja a Power nyomógombot, akkor az aktális állpotot invertálja ignorálja a további változást.
 * Szóval a folyamatos nyomvatartás nem kapcsolgatja ki be a készüléket.
 */
void ButtonsTask(void)
{
  static uint8_t powerBtnBlock = 0;
  static uint8_t selectorBtnBlock = 0;

  Device.Buttons = ButtonsPoll();

  /*--- Power Button ---*/
  if((Device.Buttons & BUTTON_POWER) == BUTTON_POWER && !powerBtnBlock)
  {
    powerBtnBlock = 1;
    if(DeviceIsOn())
      DevicePowerOff();
    else
      DevicePowerOn();
  }

  if((Device.Buttons & BUTTON_POWER) != BUTTON_POWER)
    powerBtnBlock = 0;

  /*--- Selector Button ---*/
  if((Device.Buttons & BUTTON_SELECTOR) == BUTTON_SELECTOR && !selectorBtnBlock && DeviceIsOn())
  {
    selectorBtnBlock = 1;
    if(IsDisplaySleep())
      DisplayWake();
    else
      DeviceSelectNextRoute();
  }
  if((Device.Buttons & BUTTON_SELECTOR) != BUTTON_SELECTOR)
    selectorBtnBlock = 0;
}

void UpdateSelectorLeds(Route_t route)
{
  UsrLeds_Off(USR_LED_AES | USR_LED_BNC | USR_LED_RCA | USR_LED_TOS | USR_LED_I2S | USR_LED_USB);
  switch(route)
  {
    case ROUTE_USB : UsrLeds_On(USR_LED_USB); break;
    case ROUTE_I2S_HDMI: UsrLeds_On(USR_LED_I2S); break;
    case ROUTE_TOS: UsrLeds_On(USR_LED_TOS);break;
    case ROUTE_RCA: UsrLeds_On(USR_LED_RCA);break;
    case ROUTE_BNC: UsrLeds_On(USR_LED_BNC);break;
    case ROUTE_AES_XLR: UsrLeds_On(USR_LED_AES);break;
  }
}

/*
 *
 * Visszafelé, ha a külső referenciát lekapcsolom, akkor kijelzi a display, hogy nincs EXTREF és LOCK sem, de ha lockolnak az oszcik, nem jön vissza a LOCK LED a display-en, csak a már említett kézi frissítéssel lehet előcsalogatni! Az EXTREF kijelzése teljesen jó, a LOCK kijelzés előfordul hogy nem az igazat mutatja.
 * Beleépítettem a MUTE piros LED-jét a megadott shift regiszter kimenetére. Mindig világít, ezt szeretném invertálni, tehát ha nincs MUTE, akkor ne világítson, és ha a távvezérlőről lenémítom, akkor azt jelezze ki. A távvezérlő sajnos Viktornál maradt, így ezt most nem tudom korrekt módon tesztelni...
 */

void UpdateLockIntExtStatus(void)
{
  if(DeviceIsOn())
  {
    if(!IsDisplaySleep())
    {
      Device.Lock.Curr = HAL_GPIO_ReadPin(LOCK_PLL_GPIO_Port, LOCK_PLL_Pin);
      if(Device.Lock.Curr != Device.Lock.Pre)
      {
        if(Device.Lock.Curr)
          UsrLeds_On(USR_LED_LOCK);
        else
          UsrLeds_Off(USR_LED_LOCK);

        Device.Lock.Pre = Device.Lock.Curr;
      }
      Device.IntExt.Curr = HAL_GPIO_ReadPin(INT_EXT_PLL_GPIO_Port, INT_EXT_PLL_Pin);
      if(Device.IntExt.Curr != Device.IntExt.Pre)
      {
        if(Device.IntExt.Curr)
          UsrLeds_On(USR_LED_EXTREF);
        else
          UsrLeds_Off(USR_LED_EXTREF);

        Device.IntExt.Pre = Device.IntExt.Curr;
      }
    }
  }
}

/*  Mute---- -----------------------------------------------------------------*/
void UserMuteOn(void)
{
  Device.UserIsMute = 1;
  UsrLeds_On(USR_LED_MUTE);
  HAL_GPIO_WritePin(DAC_MUTE_COM_GPIO_Port, DAC_MUTE_COM_Pin, GPIO_PIN_RESET);
}

void UserMuteOff(void)
{
  Device.UserIsMute = 0;
  UsrLeds_Off(USR_LED_MUTE);
  HAL_GPIO_WritePin(DAC_MUTE_COM_GPIO_Port, DAC_MUTE_COM_Pin, GPIO_PIN_SET);
}

uint8_t UserIsMute(void)
{
  return Device.UserIsMute;
}

/*
 * Call by hardwre only
 */
void DeviceMuteOn(void)
{
  HAL_GPIO_WritePin(DAC_MUTE_COM_GPIO_Port, DAC_MUTE_COM_Pin, GPIO_PIN_RESET);
}

/*
 * Call by hardwre only
 *
 * Ha a User némitott és DAC olyan részhez ér ahol némitania kell, majd kikapcsolni a ném itást,
 * akkor megvizsgálja hogy visszakapcsolhatja-e a némitást.
 */
void DeviceMuteOff(void)
{
  if(!UserIsMute())
  {
    HAL_GPIO_WritePin(DAC_MUTE_COM_GPIO_Port, DAC_MUTE_COM_Pin, GPIO_PIN_SET);
  }
}

/* IR REMOTE -----------------------------------------------------------------*/
int ir_not_exec = 0;
int ir_exec =0;
void IR_NEC_Parser (uint8_t address, uint8_t command)
{
  static uint32_t lastrun;
  if(HAL_GetTick() - lastrun > 1000)
  {
    Device.RemoteCommand = command;
    lastrun  = HAL_GetTick();
    ir_exec++;
  }
  else
  {
    ir_not_exec++;
  }
  Device.RemoteLastCommand = command; //debaug only
  //printf("IR REMOTE CODE:0x%08lX\r\n", code); //debug only
}

void RemoteTask(void)
{
  switch(Device.RemoteCommand)
  {
    /*--- Power On/Off ---*/
    case IR_POWER_CHINA:
    case IR_POWER:
    {
      if(DeviceIsOn())
        DevicePowerOff();
      else
        DevicePowerOn();
      break;
    }

    /*--- Route ---*/
    case IR_CH_UP_CHINA:
    case IR_CH_UP:
    {
      if(!Device.IsOn)
        break;

      if(IsDisplaySleep())
        DisplayWake();
      else
        DeviceSelectNextRoute();
      break;
    }

    /*--- Mute ---*/
    case IR_MUTE_CHINA:
    case IR_MUTE:
    {
      if(!Device.IsOn)
        break;

      if(UserIsMute())
        UserMuteOff();
      else
        UserMuteOn();
      DebugDisplayUpdate();
      break;
    }

    /*--- Roll Off Sharp ---*/
    case IR_LOVE_CHINA:
    case IR_LOVE:
    {
      if(!Device.IsOn)
        break;

      DeviceMuteOn();
      BD34301_MuteOn();
      BD34301_DigitalPowerOff();
      BD34301_SoftwareResetOn();
      Device.Diag.DacReConfgiurationCnt++;

      if(Device.DacRollOff == BD34301_ROLL_OFF_SHARP)
        Device.DacRollOff = BD34301_ROLL_OFF_SLOW;
      else
        Device.DacRollOff = BD34301_ROLL_OFF_SHARP;

      BD34301_SetRollOff(Device.DacRollOff);
      BD34301_ModeSwitching(&BD34301_ModeList[Device.DacMode]);
      DebugDisplayUpdate();
      Eeprom_WriteU32(EEPROM_ADDR_DAC_ROLLOFF, Device.DacRollOff);

      if(Device.DacRollOff == BD34301_ROLL_OFF_SHARP)
      {
        for(uint8_t i = 0; i < 3; i++)
        {
          UsrLeds_Off(USR_LED_MUTE);
          DelayMs(100);
          UsrLeds_On(USR_LED_MUTE);
          DelayMs(100);
        }
      }

      if(Device.DacRollOff == BD34301_ROLL_OFF_SLOW)
      {
        for(uint8_t i = 0; i < 2; i++)
        {
          UsrLeds_Off(USR_LED_MUTE);
          DelayMs(100);
          UsrLeds_On(USR_LED_MUTE);
          DelayMs(100);
        }
      }

      BD34301_SoftwareResetOff();
      BD34301_DigitalPowerOn();
      BD34301_RamClear();
      DeviceMuteOff();
      BD34301_MuteOff();

      if(UserIsMute())
        UsrLeds_On(USR_LED_MUTE);
      else
        UsrLeds_Off(USR_LED_MUTE);

      break;
    }
  }
 Device.RemoteCommand = 0;
}

/* DEBUG ---------------------------------------------------------------------*/
void DebugTask(DebugState_t dbg)
{
  switch(Device.DebugState){
    case SDBG_IDLE:{
      dbg = SDBG_IDLE;
      break;
    }
    case SDBG_MAKE_HARDFAULT:{
      *(__IO uint32_t *) 0xA0001000 = 0xFF;
      dbg = SDBG_IDLE;
      break;
    }
    case SDBG_HARD_RESET:{
      NVIC_SystemReset();
      dbg = SDBG_IDLE;
      break;
    }
    case SDBG_DAC_MUTE_ON:{
      /*** Mute On ***/
      BD34301_RegWrite(0x2A, 0x00);
      dbg = SDBG_IDLE;
      break;
    }
    case SDBG_DAC_MUTE_OFF:{
      /*** Mute Off ***/
      BD34301_RegWrite(0x2A, 0x03);
      dbg = SDBG_IDLE;
      break;
    }
    case SDBG_DAC_RECONFIG:{
      //DacSoftRstOn();
      //DacSetParams(&DacConfigurations[Device.DacAudioFormat], Device.MasterClock);
      //DacSoftRstOff();
      break;
    }

    case SDBG_LAST:{
      dbg = SDBG_IDLE;
      break;
    }
  }
}

/* printf --------------------------------------------------------------------*/
int _write(int file, char *ptr, int len)
{
  int i=0;
  for(i=0 ; i<len ; i++)
    ITM_SendChar((*ptr++));
  return len;
}

/* Tools----------------------------------------------------------------------*/
void UpTimeTask(void)
{
  static uint32_t timestamp;
  if(HAL_GetTick() - timestamp > 1000)
  {
    timestamp = HAL_GetTick();
    Device.UpTimeSec++;
  }
}

/* ReClock--------------------------------------------------------------------*/
void ReClockBypassOn(void)
{
  /*--- BYPASS ACTIVE ---*/
  HAL_GPIO_WritePin(RECLKBYPS_GPIO_Port, RECLKBYPS_Pin, GPIO_PIN_SET);
  Device.ReClockBypassIsActiveStatus = true;
}

void ReClockBypassOff(void)
{
  /*--- RECLOCK ACTIVE ---*/
  HAL_GPIO_WritePin(RECLKBYPS_GPIO_Port, RECLKBYPS_Pin, GPIO_PIN_RESET);

  Device.ReClockBypassIsActiveStatus = false;
}

/* Display Update-------------------------------------------------------------*/
/*
 * 0123456789012345
 *
 *
 */

void DebugDisplayUpdate(void)
{
  char line[20];
  char type[10];
  char route[10];

  if(Device.Route.Curr == ROUTE_USB)
  {
    switch(Device.XmosStatus.Curr)
    {
      case XMOS_PCM_44_1KHZ:  strcpy(type,"PCM44.1 ");break;
      case XMOS_PCM_48_0KHZ:  strcpy(type,"PCM48.0 ");break;
      case XMOS_PCM_88_2KHZ:  strcpy(type,"PCM88.2 ");break;
      case XMOS_PCM_96_0KHZ:  strcpy(type,"PCM96.0 ");break;
      case XMOS_PCM_176_4KHZ: strcpy(type,"PCM176.4");break;
      case XMOS_PCM_192_KHZ:  strcpy(type,"PCM192  ");break;
      case XMOS_PCM_352_8KHZ: strcpy(type,"PCM352.8");break;
      case XMOS_PCM_384_KHZ:  strcpy(type,"PCM384  ");break;
      case XMOS_DSD_64:       strcpy(type,"DSD64   ");break;
      case XMOS_DSD_128:      strcpy(type,"DSD128  ");break;
      case XMOS_DSD_256:      strcpy(type,"DSD256  ");break;
      case XMOS_UNKNOWN:      strcpy(type,"????????");break;
      default:                strcpy(type,"def?????");break;
    }
  }
  else
  {
    switch(Device.AudioType.Curr)
    {
      case AUDIO_PCM_32_0KHZ:  strcpy(type,"PCM32   "); break;
      case AUDIO_PCM_44_1KHZ:  strcpy(type,"PCM44.1 "); break;
      case AUDIO_PCM_48_0KHZ:  strcpy(type,"PCM48.0 "); break;
      case AUDIO_PCM_88_2KHZ:  strcpy(type,"PCM88.2 "); break;
      case AUDIO_PCM_96_0KHZ:  strcpy(type,"PCM96.0 "); break;
      case AUDIO_PCM_176_4KHZ: strcpy(type,"PCM176.4"); break;
      case AUDIO_PCM_192_KHZ:  strcpy(type,"PCM192  "); break;
      case AUDIO_PCM_352_8KHZ: strcpy(type,"PCM352.8"); break;
      case AUDIO_PCM_384_0KHZ: strcpy(type,"PCM384  "); break;
      case AUDIO_PCM_705_6KHZ: strcpy(type,"PCM705.6"); break;
      case AUDIO_DSD_64:       strcpy(type,"DSD64   "); break;
      case AUDIO_DSD_128:      strcpy(type,"DSD128  "); break;
      case AUDIO_DSD_256:      strcpy(type,"DSD256  "); break;
      case AUDIO_DSD_512:      strcpy(type,"PCM512  "); break;
      case AUDIO_UNKNOWN:      strcpy(type,"????????"); break;
      default:                 strcpy(type,"def?????");break;
    }
  }

  switch(Device.Route.Curr)
  {
    case ROUTE_USB:{
      strcpy(route,"USB ");
      break;
    }
    case ROUTE_I2S_HDMI:{
      strcpy(route,"HDMI");
      break;
    }
    case ROUTE_TOS:{
      strcpy(route,"TOS ");
      break;
    }
    case ROUTE_RCA:{
      strcpy(route,"RCA ");
      break;
    }
    case ROUTE_BNC:{
      strcpy(route,"BNC ");
      break;
    }
    case ROUTE_AES_XLR:{
      strcpy(route,"XLR ");
      break;
    }
  }

  /*
   * --- 1. LINE ---
   * 0123456789012345
   * PCM705.6 HDMI SM
   */
  DisplayClear();
  DisplaySetCursor(0, 0);
  sprintf(line, "%s %s",type, route);
  DisplayDrawString(line, &GfxFont7x8, SSD1306_WHITE );

  /*
   * --- 2. LINE ---
   * 0123456789012345
   * BYPS:OFF MCLK:22
   */
  DisplaySetCursor(0, 8);
  char bypass[10];
  char mclk[10];

  if(Device.ReClockBypassIsActiveStatus)
    strcpy(bypass,"BYPS:ON");
  else
    strcpy(bypass,"BYPS:OFF");

  if(Device.MasterClock == CLK_22_5792MHZ)
    strcpy(mclk,"MCLK:22");
  else
    strcpy(mclk,"MCLK:24");
  sprintf(line, "%s %s",bypass, mclk);
  DisplayDrawString(line, &GfxFont7x8, SSD1306_WHITE );

  /*
   * --- 3. LINE ---
   * 0123456789012345
   * MUTE:OFF
   */
  DisplaySetCursor(0, 16);
  char usrMute[10];

  if(Device.UserIsMute)
    strcpy(usrMute,"MUTE:ON");
  else
    strcpy(usrMute,"MUTE:OFF");

  char roll[10];
  if(Device.DacRollOff == BD34301_ROLL_OFF_SHARP)
    strcpy(roll,"ROLL:SH");
  else
    strcpy(roll,"ROLL:SL");

  sprintf(line, "%s %s", usrMute, roll );
  DisplayDrawString(line, &GfxFont7x8, SSD1306_WHITE );

  /*
   * --- 4. LINE ----
   * 0123456789012345
   * IR:0x00000000
   */
  DisplaySetCursor(0, 24);
  sprintf(line,"IR:0x%08lX\r\n", Device.RemoteLastCommand);
  DisplayDrawString(line, &GfxFont7x8, SSD1306_WHITE );

  DisplayUpdate();
}

/* USER CODE END 4 */

void Error_Handler(void)
{
  __disable_irq();
  while (1)
  {
  }
}
